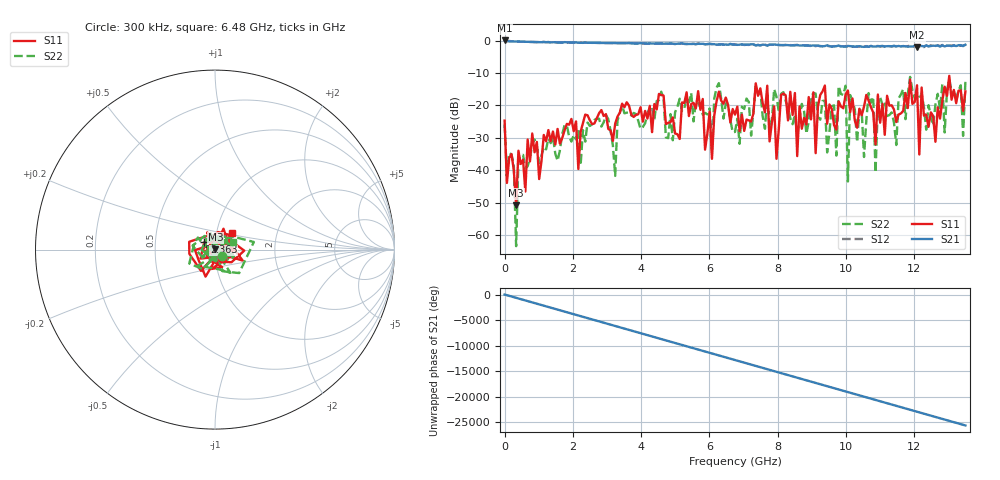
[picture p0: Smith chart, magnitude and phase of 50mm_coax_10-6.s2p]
!Agilent Technologies,N5230C,MY48100320,A.08.04.10
!Agilent N5230C: A.08.04.10
!Date: Thursday, October 06, 2016 14:54:59
!Correction: S11(Off)
!S21(Off)
!S12(Off)
!S22(Off)
!S2P File: Measurements: S11, S21, S12, S22:
# Hz S  dB  R 50
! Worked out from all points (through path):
!   201 points, 300 kHz to 13.5 GHz, reference 50 ohm
!   highest |S21| = 0.04 dB at 300 kHz (marker M1); lowest = -2.0 dB at 12.08 GHz (marker M2)
!   lowest |S11| = -50.9 dB at 337.8 MHz (marker M3), VSWR 1.01, Z = 50.3 + j0.0734 ohm
!   |S11| at or under -10 dB: start of sweep to end of sweep
!   |S22| runs from -63.4 to -11.2 dB; largest |S21 - S12| = 0.81
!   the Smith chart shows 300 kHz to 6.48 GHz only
!   S11 on the Smith chart (normalised r, x): 300 kHz: 1.07, -0.10; 2.363 GHz: 0.89, +0.07; 6.48 GHz: 1.19, +0.22
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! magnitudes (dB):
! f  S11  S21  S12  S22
! 300 kHz  -24.7  0.0  0.0  -25.8
! 337.8 MHz  -50.9  -0.3  -0.3  -63.4
! 472.8 MHz  -38.1  -0.3  -0.3  -35.3
! 2.295 GHz  -25.5  -0.7  -0.7  -27.6
! 2.363 GHz  -22.8  -0.6  -0.6  -31.2
! 4.523 GHz  -16.5  -0.9  -0.9  -18.4
! 6.075 GHz  -36.5  -1.1  -1.1  -34.8
! 6.48 GHz  -17.6  -1.2  -1.2  -19.4
! 6.75 GHz  -22.8  -1.2  -1.2  -28.2
! 9.045 GHz  -16.0  -1.5  -1.6  -16.2
! 9.72 GHz  -27.5  -1.7  -1.7  -35.5
! 9.99 GHz  -16.7  -1.9  -1.7  -13.9
! 10.06 GHz  -15.4  -1.6  -1.8  -43.5
! 10.13 GHz  -22.1  -1.7  -1.9  -16.8
! 10.53 GHz  -20.4  -1.9  -1.9  -35.9
! 10.8 GHz  -22.2  -1.8  -1.8  -17.4
! 10.87 GHz  -32.0  -1.8  -1.7  -40.7
! 11.27 GHz  -20.1  -1.7  -1.7  -23.0
! 12.08 GHz  -13.8  -2.0  -2.0  -17.2
! 12.15 GHz  -35.1  -1.7  -1.6  -18.1
! 12.22 GHz  -14.5  -1.7  -1.6  -16.3
! 13.5 GHz  -15.7  -1.3  -1.3  -12.7
